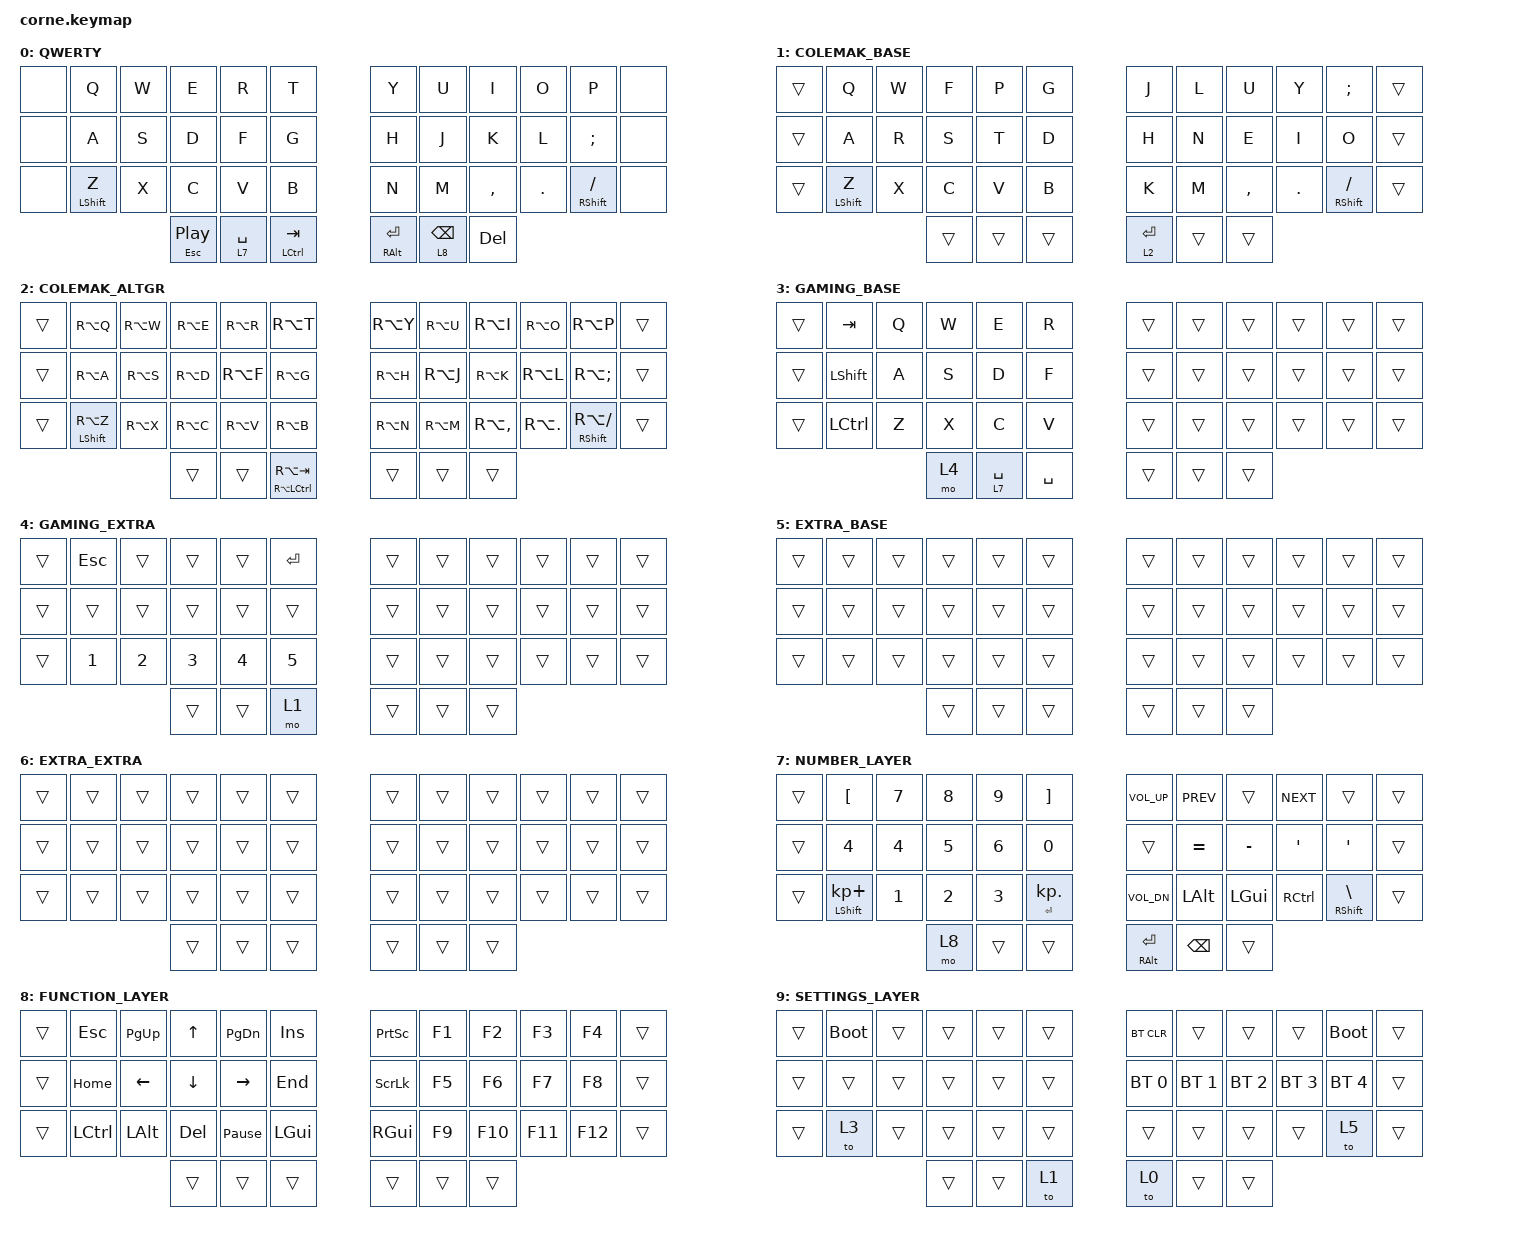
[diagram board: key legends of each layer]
/*
 * Copyright (c) 2020 The ZMK Contributors
 *
 * SPDX-License-Identifier: MIT
 */

#include <behaviors.dtsi>
#include <dt-bindings/zmk/bt.h>
#include <dt-bindings/zmk/keys.h>
#include <dt-bindings/zmk/mouse.h>

/ {
    combos { compatible = "zmk,combos"; };

    keymap {
        compatible = "zmk,keymap";

        QWERTY {
            bindings = <
&none  &kp Q             &kp W  &kp E                 &kp R        &kp T                   &kp Y                &kp U            &kp I      &kp O    &kp P                 &none
&none  &kp A             &kp S  &kp D                 &kp F        &kp G                   &kp H                &kp J            &kp K      &kp L    &kp SEMI              &none
&none  &mt LEFT_SHIFT Z  &kp X  &kp C                 &kp V        &kp B                   &kp N                &kp M            &kp COMMA  &kp DOT  &mt RIGHT_SHIFT FSLH  &none
                                &mt ESC C_PLAY_PAUSE  &lt 7 SPACE  &mt LEFT_CONTROL TAB    &mt RIGHT_ALT ENTER  &lt 8 BACKSPACE  &kp DEL
            >;
        };

        COLEMAK_BASE {
            bindings = <
&trans  &kp Q             &kp W  &kp F   &kp P   &kp G     &kp J        &kp L   &kp U      &kp Y    &kp SEMI              &trans
&trans  &kp A             &kp R  &kp S   &kp T   &kp D     &kp H        &kp N   &kp E      &kp I    &kp O                 &trans
&trans  &mt LEFT_SHIFT Z  &kp X  &kp C   &kp V   &kp B     &kp K        &kp M   &kp COMMA  &kp DOT  &mt RIGHT_SHIFT FSLH  &trans
                                 &trans  &trans  &trans    &lt 2 ENTER  &trans  &trans
            >;
        };

        COLEMAK_ALTGR {
            bindings = <
&trans  &kp RA(Q)             &kp RA(W)  &kp RA(E)  &kp RA(R)  &kp RA(T)                       &kp RA(Y)  &kp RA(U)  &kp RA(I)      &kp RA(O)    &kp RA(P)                 &trans
&trans  &kp RA(A)             &kp RA(S)  &kp RA(D)  &kp RA(F)  &kp RA(G)                       &kp RA(H)  &kp RA(J)  &kp RA(K)      &kp RA(L)    &kp RA(SEMI)              &trans
&trans  &mt LEFT_SHIFT RA(Z)  &kp RA(X)  &kp RA(C)  &kp RA(V)  &kp RA(B)                       &kp RA(N)  &kp RA(M)  &kp RA(COMMA)  &kp RA(DOT)  &mt RIGHT_SHIFT RA(FSLH)  &trans
                                         &trans     &trans     &mt RA(LEFT_CONTROL) RA(TAB)    &trans     &trans     &trans
            >;
        };

        GAMING_BASE {
            bindings = <
&trans  &kp TAB    &kp Q  &kp W  &kp E        &kp R        &trans  &trans  &trans  &trans  &trans  &trans
&trans  &kp LSHFT  &kp A  &kp S  &kp D        &kp F        &trans  &trans  &trans  &trans  &trans  &trans
&trans  &kp LCTRL  &kp Z  &kp X  &kp C        &kp V        &trans  &trans  &trans  &trans  &trans  &trans
                          &mo 4  &lt 7 SPACE  &kp SPACE    &trans  &trans  &trans
            >;
        };

        GAMING_EXTRA {
            bindings = <
&trans  &kp ESC       &trans        &trans        &trans        &kp ENTER    &trans  &trans  &trans  &trans  &trans  &trans
&trans  &trans        &trans        &trans        &trans        &trans       &trans  &trans  &trans  &trans  &trans  &trans
&trans  &kp NUMBER_1  &kp NUMBER_2  &kp NUMBER_3  &kp NUMBER_4  &kp N5       &trans  &trans  &trans  &trans  &trans  &trans
                                    &trans        &trans        &mo 1        &trans  &trans  &trans
            >;
        };

        EXTRA_BASE {
            bindings = <
&trans  &trans  &trans  &trans  &trans  &trans    &trans  &trans  &trans  &trans  &trans  &trans
&trans  &trans  &trans  &trans  &trans  &trans    &trans  &trans  &trans  &trans  &trans  &trans
&trans  &trans  &trans  &trans  &trans  &trans    &trans  &trans  &trans  &trans  &trans  &trans
                        &trans  &trans  &trans    &trans  &trans  &trans
            >;
        };

        EXTRA_EXTRA {
            bindings = <
&trans  &trans  &trans  &trans  &trans  &trans    &trans  &trans  &trans  &trans  &trans  &trans
&trans  &trans  &trans  &trans  &trans  &trans    &trans  &trans  &trans  &trans  &trans  &trans
&trans  &trans  &trans  &trans  &trans  &trans    &trans  &trans  &trans  &trans  &trans  &trans
                        &trans  &trans  &trans    &trans  &trans  &trans
            >;
        };

        NUMBER_LAYER {
            bindings = <
&trans  &kp LEFT_BRACKET        &kp N7  &kp N8  &kp N9  &kp RIGHT_BRACKET    &kp C_VOL_UP         &kp C_PREV     &trans        &kp C_NEXT         &trans                &trans
&trans  &kp NUMBER_4            &kp N4  &kp N5  &kp N6  &kp N0               &trans               &kp EQUAL      &kp MINUS     &kp SQT            &kp SQT               &trans
&trans  &mt LEFT_SHIFT KP_PLUS  &kp N1  &kp N2  &kp N3  &mt ENTER KP_DOT     &kp C_VOL_DN         &kp LEFT_ALT   &kp LEFT_GUI  &kp RIGHT_CONTROL  &mt RSHIFT BACKSLASH  &trans
                                        &mo 8   &trans  &trans               &mt RIGHT_ALT ENTER  &kp BACKSPACE  &trans
            >;
        };

        FUNCTION_LAYER {
            bindings = <
&trans  &kp ESC    &kp PG_UP  &kp UP    &kp PG_DN        &kp INS     &kp PRINTSCREEN  &kp F1  &kp F2   &kp F3   &kp F4   &trans
&trans  &kp HOME   &kp LEFT   &kp DOWN  &kp RIGHT        &kp END     &kp SCROLLLOCK   &kp F5  &kp F6   &kp F7   &kp F8   &trans
&trans  &kp LCTRL  &kp LALT   &kp DEL   &kp PAUSE_BREAK  &kp LGUI    &kp RGUI         &kp F9  &kp F10  &kp F11  &kp F12  &trans
                              &trans    &trans           &trans      &trans           &trans  &trans
            >;
        };

        SETTINGS_LAYER {
            bindings = <
&trans  &bootloader  &trans  &trans  &trans  &trans    &bt BT_CLR    &trans        &trans        &trans        &bootloader   &trans
&trans  &trans       &trans  &trans  &trans  &trans    &bt BT_SEL 0  &bt BT_SEL 1  &bt BT_SEL 2  &bt BT_SEL 3  &bt BT_SEL 4  &trans
&trans  &to 3        &trans  &trans  &trans  &trans    &trans        &trans        &trans        &trans        &to 5         &trans
                             &trans  &trans  &to 1     &to 0         &trans        &trans
            >;
        };
    };

    conditional_layers {
        compatible = "zmk,conditional-layers";

        COMBO_LAYER {
            if-layers = <7 8>;
            then-layer = <9>;
        };
    };
};
